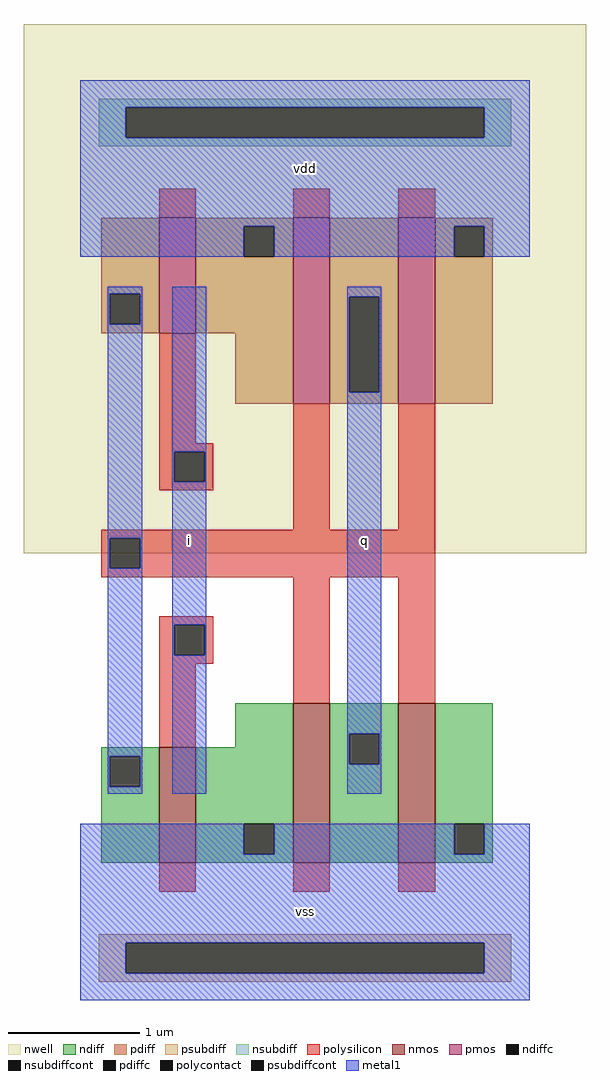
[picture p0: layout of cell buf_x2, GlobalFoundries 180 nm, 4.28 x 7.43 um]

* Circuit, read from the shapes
.subckt buf_x2 vdd vss i q
XM1 vss i n1 vss nfet_03v3 w=0.88u l=0.28u
XM2 q n1 vss vss nfet_03v3 w=1.215u l=0.28u m=2
XM3 vdd i n1 vdd pfet_03v3 w=0.88u l=0.28u
XM4 q n1 vdd vdd pfet_03v3 w=1.415u l=0.28u m=2
.ends

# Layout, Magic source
magic
tech gf180mcuD
magscale 1 10
<< nwell >>
rect -86 680 770 1486
<< nmos >>
rect 120 209 176 385
rect 324 209 380 452
rect 484 209 540 452
<< pmos >>
rect 120 1015 176 1191
rect 324 908 380 1191
rect 484 908 540 1191
<< ndiff >>
rect 236 385 324 452
rect 32 371 120 385
rect 32 325 45 371
rect 91 325 120 371
rect 32 209 120 325
rect 176 268 324 385
rect 176 222 249 268
rect 295 222 324 268
rect 176 209 324 222
rect 380 405 484 452
rect 380 359 409 405
rect 455 359 484 405
rect 380 209 484 359
rect 540 268 628 452
rect 540 222 569 268
rect 615 222 628 268
rect 540 209 628 222
<< pdiff >>
rect 32 1075 120 1191
rect 32 1029 45 1075
rect 91 1029 120 1075
rect 32 1015 120 1029
rect 176 1178 324 1191
rect 176 1132 249 1178
rect 295 1132 324 1178
rect 176 1015 324 1132
rect 236 908 324 1015
rect 380 1071 484 1191
rect 380 925 409 1071
rect 455 925 484 1071
rect 380 908 484 925
rect 540 1178 628 1191
rect 540 1132 569 1178
rect 615 1132 628 1178
rect 540 908 628 1132
<< ndiffc >>
rect 45 325 91 371
rect 249 222 295 268
rect 409 359 455 405
rect 569 222 615 268
<< pdiffc >>
rect 45 1029 91 1075
rect 249 1132 295 1178
rect 409 925 455 1071
rect 569 1132 615 1178
<< psubdiff >>
rect 28 87 656 100
rect 28 41 69 87
rect 615 41 656 87
rect 28 28 656 41
<< nsubdiff >>
rect 28 1359 656 1372
rect 28 1313 69 1359
rect 615 1313 656 1359
rect 28 1300 656 1313
<< psubdiffcont >>
rect 69 41 615 87
<< nsubdiffcont >>
rect 69 1313 615 1359
<< polysilicon >>
rect 120 1191 176 1235
rect 324 1191 380 1235
rect 484 1191 540 1235
rect 120 848 176 1015
rect 120 835 202 848
rect 120 789 143 835
rect 189 789 202 835
rect 120 776 202 789
rect 324 716 380 908
rect 484 716 540 908
rect 32 703 540 716
rect 32 657 45 703
rect 91 657 540 703
rect 32 644 540 657
rect 120 571 202 584
rect 120 525 143 571
rect 189 525 202 571
rect 120 512 202 525
rect 120 385 176 512
rect 324 452 380 644
rect 484 452 540 644
rect 120 165 176 209
rect 324 165 380 209
rect 484 165 540 209
<< polycontact >>
rect 143 789 189 835
rect 45 657 91 703
rect 143 525 189 571
<< metal1 >>
rect 0 1359 684 1400
rect 0 1313 69 1359
rect 615 1313 684 1359
rect 0 1178 684 1313
rect 0 1132 249 1178
rect 295 1132 569 1178
rect 615 1132 684 1178
rect 42 1075 94 1086
rect 42 1029 45 1075
rect 91 1029 94 1075
rect 42 703 94 1029
rect 42 657 45 703
rect 91 657 94 703
rect 42 371 94 657
rect 42 325 45 371
rect 91 325 94 371
rect 42 314 94 325
rect 140 835 192 1086
rect 140 789 143 835
rect 189 789 192 835
rect 140 571 192 789
rect 140 525 143 571
rect 189 525 192 571
rect 140 314 192 525
rect 406 1071 458 1086
rect 406 925 409 1071
rect 455 925 458 1071
rect 406 405 458 925
rect 406 359 409 405
rect 455 359 458 405
rect 406 314 458 359
rect 0 222 249 268
rect 295 222 569 268
rect 615 222 684 268
rect 0 87 684 222
rect 0 41 69 87
rect 615 41 684 87
rect 0 0 684 41
<< labels >>
rlabel metal1 s 0 1132 684 1400 4 vdd
port 3 nsew
rlabel metal1 s 0 0 684 268 4 vss
port 5 nsew
rlabel metal1 s 140 314 192 1086 4 i
port 7 nsew
rlabel metal1 s 406 314 458 1086 4 q
port 9 nsew
<< end >>
